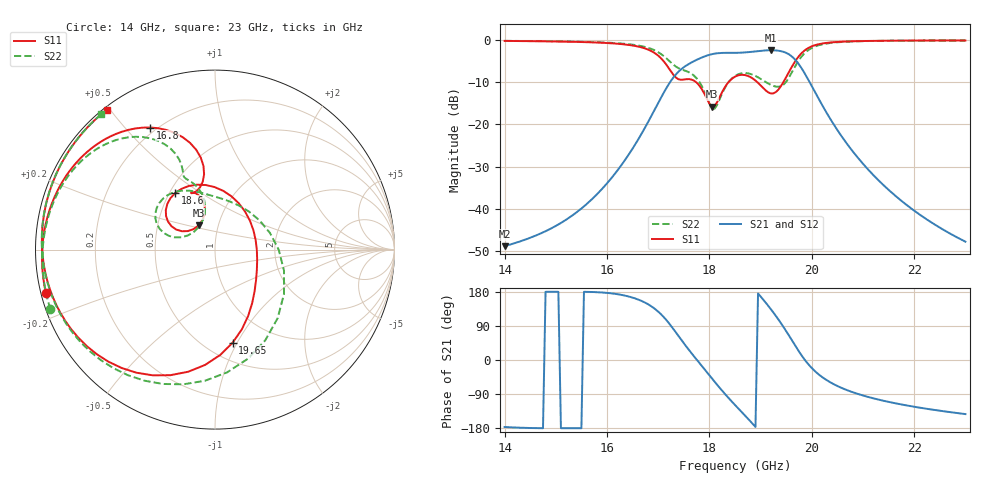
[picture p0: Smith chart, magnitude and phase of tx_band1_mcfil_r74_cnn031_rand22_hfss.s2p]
! Touchstone file exported from HFSS 3D Layout Design 2026.1.0
!  File:  D:/Work/SIM/ADS_AUTO_SIM/projects/RFSOC_RF/TX_Fillter.aedt
!  Generated:  08:09:34 AM Aug 31, 2026
!  Design:  TX_BAND1_MCFIL_R74_CNN031
!  Project:  TX_Fillter
# GHz S MA R 50.000000
! Terminal data exported
! Port[1] = Port1
! Port[2] = Port2
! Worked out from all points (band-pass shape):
!   181 points, 14 GHz to 23 GHz, reference 50 ohm
!   highest |S21| = -2.44 dB at 19.2 GHz (marker M1); lowest = -48.8 dB at 14 GHz (marker M2)
!   |S21| within 3 dB of the highest: 17.63 GHz to 19.73 GHz (2.093 GHz wide, 11.2 % of centre)
!   lowest |S11| = -15.8 dB at 18.05 GHz (marker M3), VSWR 1.39, Z = 40.2 + j11.1 ohm
!   |S11| at or under -10 dB: 17.74 GHz to 18.37 GHz (633.2 MHz wide, 3.51 % of centre); 18.94 GHz to 19.44 GHz (508.4 MHz wide, 2.65 % of centre)
!   |S22| runs from -16.3 to -0.1 dB; largest |S21 - S12| = 1.4e-14
!   S11 on the Smith chart (normalised r, x): 14 GHz: 0.01, -0.13; 16.8 GHz: 0.18, +0.59; 18.6 GHz: 0.53, +0.40; 19.65 GHz: 0.67, -0.96; 23 GHz: 0.01, +0.49
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14  0.9729 -165.5  0.003644 -176.8  0.003644 -176.8  0.9749 -160.1
15.5  0.9445 164.3  0.01016 -179.9  0.01016 -179.9  0.95 171.2
16.25  0.8963 142.6  0.03119 172.6  0.03119 172.6  0.9094 151.4
16.8  0.7697 117.9  0.1063 147.2  0.1063 147.2  0.8077 129.9
17  0.6516 106.0  0.1797 127.7  0.1797 127.7  0.7154 120.0
17.25  0.4231 98.3  0.3287 90.1  0.3287 90.1  0.5397 111.7
17.5  0.3397 112.5  0.4755 44.2  0.4755 44.2  0.4372 113.0
17.8  0.2903 104.5  0.6003 -7.1  0.6003 -7.1  0.3211 103.3
18.05  0.1627 124.3  0.6781 -48.8  0.6781 -48.8  0.1558 124.6
18.25  0.2428 152.6  0.7019 -81.3  0.7019 -81.3  0.2339 163.1
18.5  0.368 136.2  0.7032 -118.7  0.7032 -118.7  0.3747 152.4
18.6  0.3854 125.1  0.7055 -133.0  0.7055 -133.0  0.3992 144.3
18.95  0.3107 72.8  0.7377 175.6  0.7377 175.6  0.3611 114.4
19.2  0.2326 12.9  0.7551 134.2  0.7551 134.2  0.2942 89.4
19.45  0.3204 -46.5  0.7217 86.6  0.7217 86.6  0.2967 33.4
19.65  0.528 -79.3  0.6062 43.6  0.6062 43.6  0.4572 -32.8
19.85  0.7424 -109.5  0.4131 2.9  0.4131 2.9  0.6872 -84.3
20  0.84 -128.3  0.284 -21.2  0.284 -21.2  0.8031 -111.2
20.25  0.9155 -150.9  0.1511 -49.6  0.1511 -49.6  0.8979 -140.7
20.5  0.9461 -166.5  0.08589 -68.7  0.08589 -68.7  0.9373 -159.6
21.5  0.9783 157.8  0.01688 -110.5  0.01688 -110.5  0.9774 161.0
23  0.9851 127.8  0.00412 -142.7  0.00412 -142.7  0.9849 130.1
